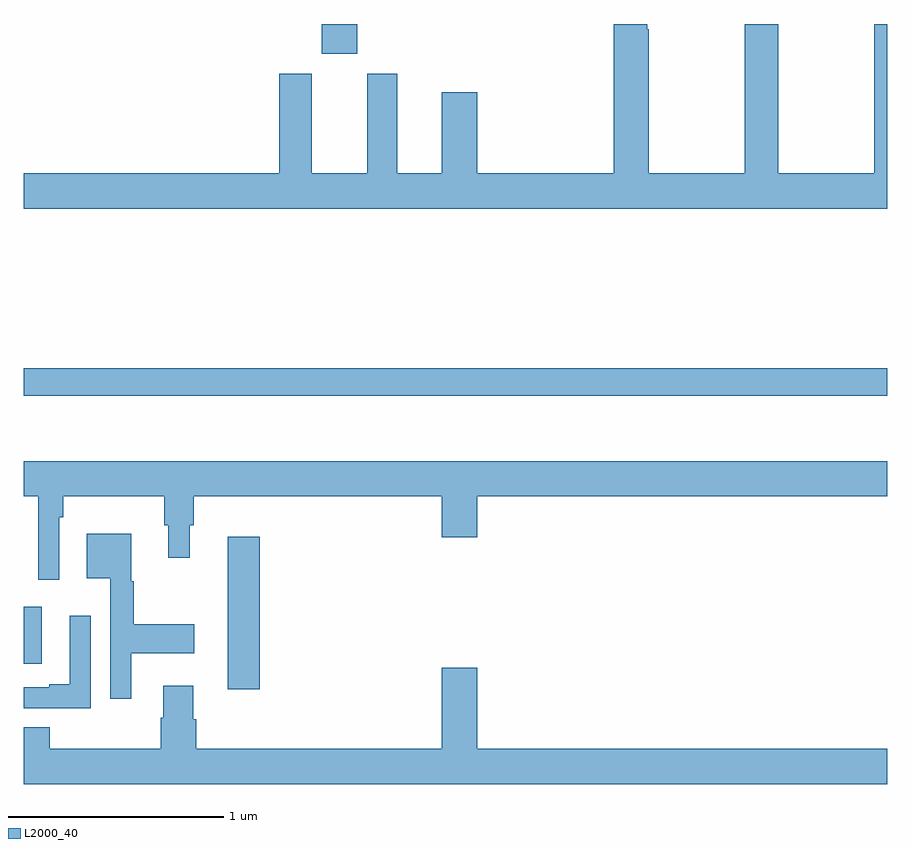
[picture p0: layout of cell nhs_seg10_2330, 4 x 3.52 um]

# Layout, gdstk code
import gdstk
lib = gdstk.Library(unit=1e-6, precision=1e-09)
def R(c, l, rs):  # rectangles x0, y0, x1, y1
    for r in rs: c.add(gdstk.rectangle(r[:2], r[2:], *l))
def P(c, l, *ps):  # polygons
    for p in ps: c.add(gdstk.Polygon(p, *l))
L2000_40 = (2000, 40)

nhs_seg10_2330 = lib.new_cell('nhs_seg10_2330')
R(nhs_seg10_2330, L2000_40, [(235.946,1303.419,236.093,1304.125), (235,1303.538,235.084,1303.801), (235,1304.778,239,1304.906), (236.381,1306.362,236.545,1306.5)])
P(nhs_seg10_2330, L2000_40, [(239,1306.5),(238.939,1306.5),(238.939,1305.808),(238.494,1305.808),(238.494,1306.5),(238.339,1306.5),(238.339,1305.808),(237.894,1305.808),(237.894,1306.475),(237.889,1306.475),(237.889,1306.5),(237.734,1306.5),(237.734,1305.808),(237.1,1305.808),(237.1,1306.183),(236.936,1306.183),(236.936,1305.808),(236.731,1305.808),(236.731,1306.27),(236.591,1306.27),(236.591,1305.808),(236.335,1305.808),(236.335,1306.27),(236.183,1306.27),(236.183,1305.808),(235,1305.808),(235,1305.644),(239,1305.644)],
  [(235,1304.312),(235.067,1304.312),(235.067,1303.926),(235.164,1303.926),(235.164,1304.216),(235.184,1304.216),(235.184,1304.312),(235.651,1304.312),(235.651,1304.178),(235.67,1304.178),(235.67,1304.028),(235.768,1304.028),(235.768,1304.178),(235.787,1304.178),(235.787,1304.312),(236.936,1304.312),(236.936,1304.124),(237.1,1304.124),(237.1,1304.312),(239,1304.312),(239,1304.476),(235,1304.476)],
  [(235.498,1303.586),(235.789,1303.586),(235.789,1303.721),(235.51,1303.721),(235.51,1303.92),(235.498,1303.92),(235.498,1304.14),(235.292,1304.14),(235.292,1303.934),(235.401,1303.934),(235.401,1303.374),(235.498,1303.374)],
  [(235.311,1303.759),(235.214,1303.759),(235.214,1303.441),(235.118,1303.441),(235.118,1303.428),(235,1303.428),(235,1303.332),(235.311,1303.332)],
  [(239,1303.144),(237.1,1303.144),(237.1,1303.519),(236.936,1303.519),(236.936,1303.144),(235.799,1303.144),(235.799,1303.281),(235.786,1303.281),(235.786,1303.435),(235.646,1303.435),(235.646,1303.286),(235.634,1303.286),(235.634,1303.144),(235.121,1303.144),(235.121,1303.242),(235,1303.242),(235,1302.98),(239,1302.98)])

lib.write_gds('nhs_seg10_2330.gds')
